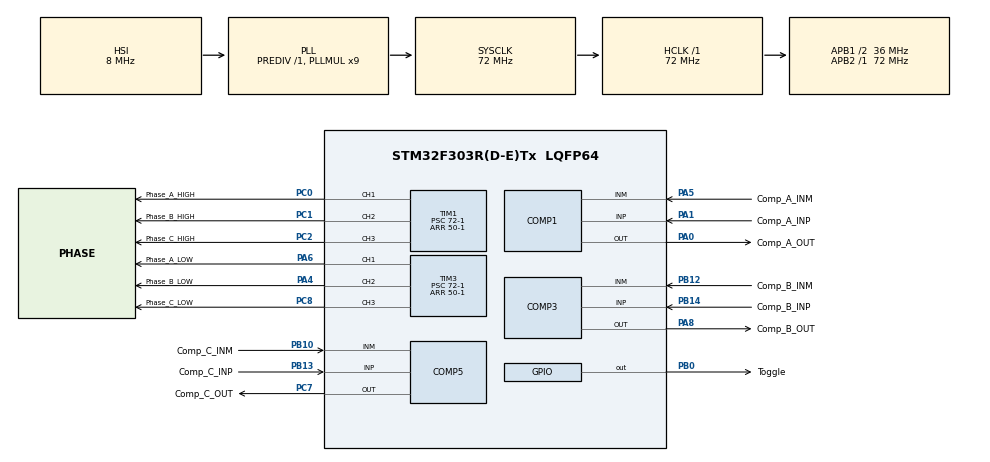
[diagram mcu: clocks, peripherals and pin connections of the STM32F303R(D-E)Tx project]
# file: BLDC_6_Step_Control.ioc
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Mcu.Family=STM32F3
Mcu.Name=STM32F303R(D-E)Tx
Mcu.Package=LQFP64
NVIC.PriorityGroup=NVIC_PRIORITYGROUP_0
NVIC.TIM4_IRQn=true\:0\:0\:false\:false\:true\:true\:true
PA0.GPIO_Label=Comp_A_OUT
PA0.Mode=ExternalOutput
PA0.Signal=COMP1_OUT
PA1.GPIO_Label=Comp_A_INP
PA1.Mode=INP
PA1.Signal=COMP1_INP
PA13.GPIO_Label=TMS
PA13.Mode=Serial_Wire
PA13.Signal=SYS_JTMS-SWDIO
PA14.GPIO_Label=TCK
PA14.Mode=Serial_Wire
PA14.Signal=SYS_JTCK-SWCLK
PA4.GPIO_Label=Phase_B_LOW
PA4.Signal=S_TIM3_CH2
PA5.GPIO_Label=Comp_A_INM
PA5.Mode=INM
PA5.Signal=COMP1_INM
PA6.GPIO_Label=Phase_A_LOW
PA6.Signal=S_TIM3_CH1
PA8.GPIO_Label=Comp_B_OUT
PA8.Mode=ExternalOutput
PA8.Signal=COMP3_OUT
PB0.GPIO_Label=Toggle
PB0.Signal=GPIO_Output
PB10.GPIO_Label=Comp_C_INM
PB10.Mode=INM
PB10.Signal=COMP5_INM
PB12.GPIO_Label=Comp_B_INM
PB12.Mode=INM
PB12.Signal=COMP3_INM
PB13.GPIO_Label=Comp_C_INP
PB13.Mode=INP
PB13.Signal=COMP5_INP
PB14.GPIO_Label=Comp_B_INP
PB14.Mode=INP
PB14.Signal=COMP3_INP
PC0.GPIO_Label=Phase_A_HIGH
PC0.Signal=S_TIM1_CH1
PC1.GPIO_Label=Phase_B_HIGH
PC1.Signal=S_TIM1_CH2
PC2.GPIO_Label=Phase_C_HIGH
PC2.Signal=S_TIM1_CH3
PC7.GPIO_Label=Comp_C_OUT
PC7.Mode=ExternalOutput
PC7.Signal=COMP5_OUT
PC8.GPIO_Label=Phase_C_LOW
PC8.Signal=S_TIM3_CH3
PF0-OSC_IN.Mode=HSE-External-Oscillator
PF0-OSC_IN.Signal=RCC_OSC_IN
PF1-OSC_OUT.Mode=HSE-External-Oscillator
PF1-OSC_OUT.Signal=RCC_OSC_OUT
ProjectManager.HeapSize=0x200
ProjectManager.StackSize=0x400
ProjectManager.TargetToolchain=STM32CubeIDE
RCC.AHBFreq_Value=72000000
RCC.APB1CLKDivider=RCC_HCLK_DIV2
RCC.APB1Freq_Value=36000000
RCC.APB1TimFreq_Value=72000000
RCC.APB2Freq_Value=72000000
RCC.APB2TimFreq_Value=72000000
RCC.CortexFreq_Value=72000000
RCC.HCLKFreq_Value=72000000
RCC.HSE_VALUE=8000000
RCC.HSI_VALUE=8000000
RCC.LSE_VALUE=32768
RCC.PLLM=8
RCC.PLLMUL=RCC_PLL_MUL9
RCC.PLLN=336
RCC.PLLP=RCC_PLLP_DIV4
RCC.PLLQ=7
RCC.RCC_PLLsource_Clock_Source_FROM_HSE=RCC_HSE_PREDIV_DIV2
RCC.SYSCLKFreq_VALUE=72000000
RCC.SYSCLKSourceVirtual=RCC_SYSCLKSOURCE_PLLCLK
RCC.USBFreq_Value=72000000
SH.S_TIM1_CH1.0=TIM1_CH1,PWM Generation1 CH1
SH.S_TIM1_CH2.0=TIM1_CH2,PWM Generation2 CH2
SH.S_TIM1_CH3.0=TIM1_CH3,PWM Generation3 CH3
SH.S_TIM3_CH1.0=TIM3_CH1,PWM Generation1 CH1
SH.S_TIM3_CH2.0=TIM3_CH2,PWM Generation2 CH2
SH.S_TIM3_CH3.0=TIM3_CH3,PWM Generation3 CH3
TIM1.Channel-PWM\ Generation1\ CH1=TIM_CHANNEL_1
TIM1.Channel-PWM\ Generation2\ CH2=TIM_CHANNEL_2
TIM1.Channel-PWM\ Generation3\ CH3=TIM_CHANNEL_3
TIM1.CounterMode=TIM_COUNTERMODE_UP
TIM1.Period=50-1
TIM1.Prescaler=72-1
TIM3.Channel-PWM\ Generation1\ CH1=TIM_CHANNEL_1
TIM3.Channel-PWM\ Generation2\ CH2=TIM_CHANNEL_2
TIM3.Channel-PWM\ Generation3\ CH3=TIM_CHANNEL_3
TIM3.Period=50-1
TIM3.Prescaler=72-1
TIM4.Period=1000-1
TIM4.Prescaler=72-1
VP_TIM4_VS_ClockSourceINT.Mode=Internal
board=NUCLEO-F303RE

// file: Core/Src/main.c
/* USER CODE BEGIN Header */
/**
  ******************************************************************************
  * @file           : main.c
  * @brief          : Main program body
  ******************************************************************************
  * @attention
  *
  * Copyright (c) 2022 STMicroelectronics.
  * All rights reserved.
  *
  * This software is licensed under terms that can be found in the LICENSE file
  * in the root directory of this software component.
  * If no LICENSE file comes with this software, it is provided AS-IS.
  *
  ******************************************************************************
  */
/* USER CODE END Header */
#include "main.h"

/* USER CODE BEGIN Includes */
#include "TimeTask.h"
#include "SixStepCommutation.h"
/* USER CODE END Includes */

COMP_HandleTypeDef hcomp1;
COMP_HandleTypeDef hcomp3;
COMP_HandleTypeDef hcomp5;

TIM_HandleTypeDef htim1;
TIM_HandleTypeDef htim3;
TIM_HandleTypeDef htim4;

void SystemClock_Config(void);
static void MX_GPIO_Init(void);
static void MX_TIM1_Init(void);
static void MX_TIM3_Init(void);
static void MX_COMP1_Init(void);
static void MX_COMP3_Init(void);
static void MX_COMP5_Init(void);
static void MX_TIM4_Init(void);

int main(void)
{

  /* MCU Configuration--------------------------------------------------------*/

  /* Reset of all peripherals, Initializes the Flash interface and the Systick. */
  HAL_Init();

  /* Configure the system clock */
  SystemClock_Config();

  /* Initialize all configured peripherals */
  MX_GPIO_Init();
  MX_TIM1_Init();
  MX_TIM3_Init();
  MX_COMP1_Init();
  MX_COMP3_Init();
  MX_COMP5_Init();
  MX_TIM4_Init();
  /* USER CODE BEGIN 2 */

  PeripheralsStart();

  /* USER CODE END 2 */

  /* Infinite loop */
  while (1)
  {

    /* USER CODE BEGIN 3 */
	  if(Motor_Control.System_Enable == 1)
	  {

		  if(Motor_Control.Blinde_Mode != 1)
		  {

			  if(htim1.Instance->CNT == Motor_Control.Pulse_Center)
			  {

				  switch(Motor_Control.Drive_Stage)
				  {

					  case START_UP:
					  {
						  Start_Up_Motor();

						  break;
					  }

					  case ALIGN:
					  {
						  Align_Motor();

						  break;
					  }

					  case RUN:
					  {
						  Run_Motor();

						  break;
					  }

					  default:
						  break;
				  }
		  	  }
	  	  }

		  else
		  {

			  if(Time.Task.Hz_50 == 1)
			  {

				  static int h = 0;
				  Set_Motor_State(Trigger_Control_State[h], Motor_Control.Duty_Cycle);
				  h = (h+1) % 6;

				  Motor_Control.Drive_Stage = START_UP;

				  Time.Task.Hz_50 = 0;
			  }

		  }
	  }

	  else
	  {
		  Stop_Motor();
	  }
  }
  /* USER CODE END 3 */
}

void SystemClock_Config(void)
{
  RCC_OscInitTypeDef RCC_OscInitStruct = {0};
  RCC_ClkInitTypeDef RCC_ClkInitStruct = {0};
  RCC_PeriphCLKInitTypeDef PeriphClkInit = {0};

  /** Initializes the RCC Oscillators according to the specified parameters
  * in the RCC_OscInitTypeDef structure.
  */
  RCC_OscInitStruct.OscillatorType = RCC_OSCILLATORTYPE_HSI;
  RCC_OscInitStruct.HSIState = RCC_HSI_ON;
  RCC_OscInitStruct.HSICalibrationValue = RCC_HSICALIBRATION_DEFAULT;
  RCC_OscInitStruct.PLL.PLLState = RCC_PLL_ON;
  RCC_OscInitStruct.PLL.PLLSource = RCC_PLLSOURCE_HSI;
  RCC_OscInitStruct.PLL.PLLMUL = RCC_PLL_MUL9;
  RCC_OscInitStruct.PLL.PREDIV = RCC_PREDIV_DIV1;
  if (HAL_RCC_OscConfig(&RCC_OscInitStruct) != HAL_OK)
  {
    Error_Handler();
  }
  /** Initializes the CPU, AHB and APB buses clocks
  */
  RCC_ClkInitStruct.ClockType = RCC_CLOCKTYPE_HCLK|RCC_CLOCKTYPE_SYSCLK
                              |RCC_CLOCKTYPE_PCLK1|RCC_CLOCKTYPE_PCLK2;
  RCC_ClkInitStruct.SYSCLKSource = RCC_SYSCLKSOURCE_PLLCLK;
  RCC_ClkInitStruct.AHBCLKDivider = RCC_SYSCLK_DIV1;
  RCC_ClkInitStruct.APB1CLKDivider = RCC_HCLK_DIV2;
  RCC_ClkInitStruct.APB2CLKDivider = RCC_HCLK_DIV1;

  if (HAL_RCC_ClockConfig(&RCC_ClkInitStruct, FLASH_LATENCY_2) != HAL_OK)
  {
    Error_Handler();
  }
  PeriphClkInit.PeriphClockSelection = RCC_PERIPHCLK_TIM1|RCC_PERIPHCLK_TIM34;
  PeriphClkInit.Tim1ClockSelection = RCC_TIM1CLK_HCLK;
  PeriphClkInit.Tim34ClockSelection = RCC_TIM34CLK_HCLK;
  if (HAL_RCCEx_PeriphCLKConfig(&PeriphClkInit) != HAL_OK)
  {
    Error_Handler();
  }
}

static void MX_COMP1_Init(void)
{

  hcomp1.Instance = COMP1;
  hcomp1.Init.InvertingInput = COMP_INVERTINGINPUT_DAC1_CH2;
  hcomp1.Init.NonInvertingInput = COMP_NONINVERTINGINPUT_IO1;
  hcomp1.Init.Output = COMP_OUTPUT_NONE;
  hcomp1.Init.OutputPol = COMP_OUTPUTPOL_NONINVERTED;
  hcomp1.Init.BlankingSrce = COMP_BLANKINGSRCE_NONE;
  hcomp1.Init.TriggerMode = COMP_TRIGGERMODE_NONE;
  if (HAL_COMP_Init(&hcomp1) != HAL_OK)
  {
    Error_Handler();
  }

}

static void MX_COMP3_Init(void)
{

  hcomp3.Instance = COMP3;
  hcomp3.Init.InvertingInput = COMP_INVERTINGINPUT_IO2;
  hcomp3.Init.NonInvertingInput = COMP_NONINVERTINGINPUT_IO1;
  hcomp3.Init.Output = COMP_OUTPUT_NONE;
  hcomp3.Init.OutputPol = COMP_OUTPUTPOL_NONINVERTED;
  hcomp3.Init.BlankingSrce = COMP_BLANKINGSRCE_NONE;
  hcomp3.Init.TriggerMode = COMP_TRIGGERMODE_NONE;
  if (HAL_COMP_Init(&hcomp3) != HAL_OK)
  {
    Error_Handler();
  }

}

static void MX_COMP5_Init(void)
{

  hcomp5.Instance = COMP5;
  hcomp5.Init.InvertingInput = COMP_INVERTINGINPUT_IO2;
  hcomp5.Init.NonInvertingInput = COMP_NONINVERTINGINPUT_IO1;
  hcomp5.Init.Output = COMP_OUTPUT_NONE;
  hcomp5.Init.OutputPol = COMP_OUTPUTPOL_NONINVERTED;
  hcomp5.Init.BlankingSrce = COMP_BLANKINGSRCE_NONE;
  hcomp5.Init.TriggerMode = COMP_TRIGGERMODE_NONE;
  if (HAL_COMP_Init(&hcomp5) != HAL_OK)
  {
    Error_Handler();
  }

}

static void MX_TIM1_Init(void)
{

  TIM_MasterConfigTypeDef sMasterConfig = {0};
  TIM_OC_InitTypeDef sConfigOC = {0};
  TIM_BreakDeadTimeConfigTypeDef sBreakDeadTimeConfig = {0};

  htim1.Instance = TIM1;
  htim1.Init.Prescaler = 72-1;
  htim1.Init.CounterMode = TIM_COUNTERMODE_UP;
  htim1.Init.Period = 50-1;
  htim1.Init.ClockDivision = TIM_CLOCKDIVISION_DIV1;
  htim1.Init.RepetitionCounter = 0;
  htim1.Init.AutoReloadPreload = TIM_AUTORELOAD_PRELOAD_DISABLE;
  if (HAL_TIM_PWM_Init(&htim1) != HAL_OK)
  {
    Error_Handler();
  }
  sMasterConfig.MasterOutputTrigger = TIM_TRGO_RESET;
  sMasterConfig.MasterOutputTrigger2 = TIM_TRGO2_RESET;
  sMasterConfig.MasterSlaveMode = TIM_MASTERSLAVEMODE_DISABLE;
  if (HAL_TIMEx_MasterConfigSynchronization(&htim1, &sMasterConfig) != HAL_OK)
  {
    Error_Handler();
  }
  sConfigOC.OCMode = TIM_OCMODE_PWM1;
  sConfigOC.Pulse = 0;
  sConfigOC.OCPolarity = TIM_OCPOLARITY_HIGH;
  sConfigOC.OCNPolarity = TIM_OCNPOLARITY_HIGH;
  sConfigOC.OCFastMode = TIM_OCFAST_DISABLE;
  sConfigOC.OCIdleState = TIM_OCIDLESTATE_RESET;
  sConfigOC.OCNIdleState = TIM_OCNIDLESTATE_RESET;
  if (HAL_TIM_PWM_ConfigChannel(&htim1, &sConfigOC, TIM_CHANNEL_1) != HAL_OK)
  {
    Error_Handler();
  }
  if (HAL_TIM_PWM_ConfigChannel(&htim1, &sConfigOC, TIM_CHANNEL_2) != HAL_OK)
  {
    Error_Handler();
  }
  if (HAL_TIM_PWM_ConfigChannel(&htim1, &sConfigOC, TIM_CHANNEL_3) != HAL_OK)
  {
    Error_Handler();
  }
  sBreakDeadTimeConfig.OffStateRunMode = TIM_OSSR_DISABLE;
  sBreakDeadTimeConfig.OffStateIDLEMode = TIM_OSSI_DISABLE;
  sBreakDeadTimeConfig.LockLevel = TIM_LOCKLEVEL_OFF;
  sBreakDeadTimeConfig.DeadTime = 0;
  sBreakDeadTimeConfig.BreakState = TIM_BREAK_DISABLE;
  sBreakDeadTimeConfig.BreakPolarity = TIM_BREAKPOLARITY_HIGH;
  sBreakDeadTimeConfig.BreakFilter = 0;
  sBreakDeadTimeConfig.Break2State = TIM_BREAK2_DISABLE;
  sBreakDeadTimeConfig.Break2Polarity = TIM_BREAK2POLARITY_HIGH;
  sBreakDeadTimeConfig.Break2Filter = 0;
  sBreakDeadTimeConfig.AutomaticOutput = TIM_AUTOMATICOUTPUT_DISABLE;
  if (HAL_TIMEx_ConfigBreakDeadTime(&htim1, &sBreakDeadTimeConfig) != HAL_OK)
  {
    Error_Handler();
  }
  HAL_TIM_MspPostInit(&htim1);

}

static void MX_TIM3_Init(void)
{

  TIM_MasterConfigTypeDef sMasterConfig = {0};
  TIM_OC_InitTypeDef sConfigOC = {0};

  htim3.Instance = TIM3;
  htim3.Init.Prescaler = 72-1;
  htim3.Init.CounterMode = TIM_COUNTERMODE_UP;
  htim3.Init.Period = 50-1;
  htim3.Init.ClockDivision = TIM_CLOCKDIVISION_DIV1;
  htim3.Init.AutoReloadPreload = TIM_AUTORELOAD_PRELOAD_DISABLE;
  if (HAL_TIM_PWM_Init(&htim3) != HAL_OK)
  {
    Error_Handler();
  }
  sMasterConfig.MasterOutputTrigger = TIM_TRGO_RESET;
  sMasterConfig.MasterSlaveMode = TIM_MASTERSLAVEMODE_DISABLE;
  if (HAL_TIMEx_MasterConfigSynchronization(&htim3, &sMasterConfig) != HAL_OK)
  {
    Error_Handler();
  }
  sConfigOC.OCMode = TIM_OCMODE_PWM1;
  sConfigOC.Pulse = 0;
  sConfigOC.OCPolarity = TIM_OCPOLARITY_HIGH;
  sConfigOC.OCFastMode = TIM_OCFAST_DISABLE;
  if (HAL_TIM_PWM_ConfigChannel(&htim3, &sConfigOC, TIM_CHANNEL_1) != HAL_OK)
  {
    Error_Handler();
  }
  if (HAL_TIM_PWM_ConfigChannel(&htim3, &sConfigOC, TIM_CHANNEL_2) != HAL_OK)
  {
    Error_Handler();
  }
  if (HAL_TIM_PWM_ConfigChannel(&htim3, &sConfigOC, TIM_CHANNEL_3) != HAL_OK)
  {
    Error_Handler();
  }
  HAL_TIM_MspPostInit(&htim3);

}

static void MX_TIM4_Init(void)
{

  TIM_ClockConfigTypeDef sClockSourceConfig = {0};
  TIM_MasterConfigTypeDef sMasterConfig = {0};

  htim4.Instance = TIM4;
  htim4.Init.Prescaler = 72-1;
  htim4.Init.CounterMode = TIM_COUNTERMODE_UP;
  htim4.Init.Period = 1000-1;
  htim4.Init.ClockDivision = TIM_CLOCKDIVISION_DIV1;
  htim4.Init.AutoReloadPreload = TIM_AUTORELOAD_PRELOAD_DISABLE;
  if (HAL_TIM_Base_Init(&htim4) != HAL_OK)
  {
    Error_Handler();
  }
  sClockSourceConfig.ClockSource = TIM_CLOCKSOURCE_INTERNAL;
  if (HAL_TIM_ConfigClockSource(&htim4, &sClockSourceConfig) != HAL_OK)
  {
    Error_Handler();
  }
  sMasterConfig.MasterOutputTrigger = TIM_TRGO_RESET;
  sMasterConfig.MasterSlaveMode = TIM_MASTERSLAVEMODE_DISABLE;
  if (HAL_TIMEx_MasterConfigSynchronization(&htim4, &sMasterConfig) != HAL_OK)
  {
    Error_Handler();
  }

}

static void MX_GPIO_Init(void)
{
  GPIO_InitTypeDef GPIO_InitStruct = {0};

  /* GPIO Ports Clock Enable */
  __HAL_RCC_GPIOF_CLK_ENABLE();
  __HAL_RCC_GPIOC_CLK_ENABLE();
  __HAL_RCC_GPIOA_CLK_ENABLE();
  __HAL_RCC_GPIOB_CLK_ENABLE();

  /*Configure GPIO pin Output Level */
  HAL_GPIO_WritePin(Toggle_GPIO_Port, Toggle_Pin, GPIO_PIN_RESET);

  /*Configure GPIO pin : Toggle_Pin */
  GPIO_InitStruct.Pin = Toggle_Pin;
  GPIO_InitStruct.Mode = GPIO_MODE_OUTPUT_PP;
  GPIO_InitStruct.Pull = GPIO_NOPULL;
  GPIO_InitStruct.Speed = GPIO_SPEED_FREQ_LOW;
  HAL_GPIO_Init(Toggle_GPIO_Port, &GPIO_InitStruct);

}

void Error_Handler(void)
{
  __disable_irq();
  while (1)
  {
  }
}
